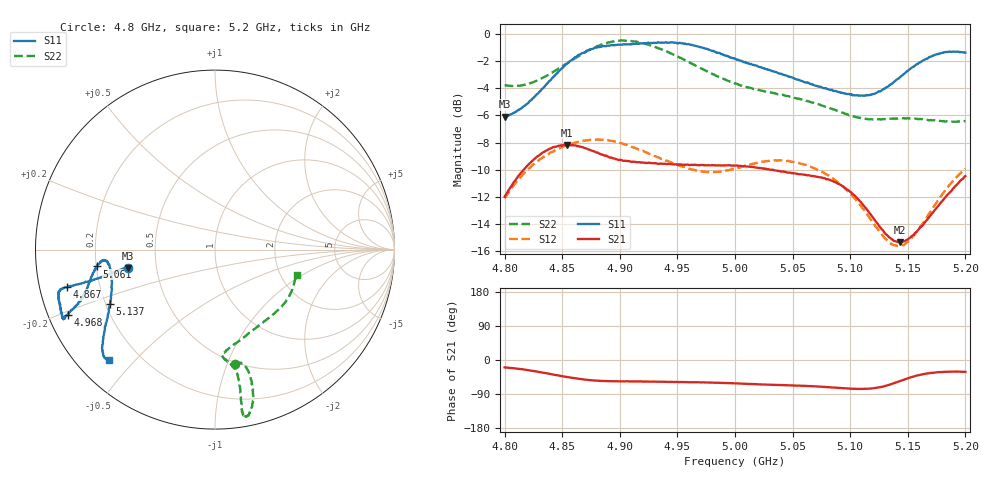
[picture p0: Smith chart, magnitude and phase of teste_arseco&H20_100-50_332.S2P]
! Network Analyzer HP8722D
! Hewlett-Packard
! Data name: Linha & Wilkinson
! Saver's name: Rodrigo Anjos
! Comments: Teste da utilização de aquisição
! continua pelo VNA HP8722D
! Time and date: 6/5/2025 15:20
!  Frequency  S11  S21  S12  S22
# HZ  S  MA R 50
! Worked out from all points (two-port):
!   401 points, 4.8 GHz to 5.2 GHz, reference 50 ohm
!   highest |S21| = -8.16 dB at 4.854 GHz (marker M1); lowest = -15.3 dB at 5.143 GHz (marker M2)
!   |S21| within 3 dB of the highest: 4.806 GHz to 5.093 GHz (286.6 MHz wide, 5.79 % of centre); 5.191716 GHz to end of sweep
!   lowest |S11| = -6.1 dB at 4.8 GHz (marker M3), VSWR 2.97, Z = 17 - j4.61 ohm
!   |S11| at or under -10 dB: nowhere
!   |S22| runs from -6.5 to -0.5 dB; largest |S21 - S12| = 0.62
!   S11 on the Smith chart (normalised r, x): 4.8 GHz: 0.34, -0.09; 4.867 GHz: 0.08, -0.12; 4.968 GHz: 0.06, -0.21; 5.061 GHz: 0.20, -0.07; 5.137 GHz: 0.22, -0.23; 5.2 GHz: 0.09, -0.43
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4.8e9  0.4966 -168.1  0.2515 -19.6  0.2484 -140.8  0.6481 -80.3
4.826e9  0.5871 -167.2  0.3468 -29.6  0.3334 -144.5  0.6677 -75.6
4.854e9  0.7764 -165.8  0.3906 -44.9  0.3888 -149.8  0.7785 -74.6
4.867e9  0.8489 -165.8  0.3834 -50.8  0.4037 -151.9  0.8441 -75.3
4.88e9  0.8901 -165.4  0.3663 -54.5  0.4083 -154.0  0.9003 -76.7
4.9e9  0.912 -162.8  0.3439 -56.3  0.3968 -156.5  0.9436 -79.1
4.915e9  0.9208 -159.2  0.3373 -56.7  0.3781 -157.2  0.9355 -80.3
4.934e9  0.93 -156.3  0.3326 -57.4  0.3509 -155.6  0.8837 -80.4
4.968e9  0.8975 -156.2  0.3288 -59.0  0.3136 -147.5  0.7552 -79.6
5e9  0.8111 -159.0  0.3277 -61.8  0.3199 -137.1  0.6568 -81.2
5.037e9  0.7193 -165.8  0.3132 -65.9  0.3419 -134.4  0.5996 -85.8
5.061e9  0.6634 -171.9  0.3032 -68.2  0.3298 -136.2  0.5706 -84.0
5.067e9  0.6522 -173.0  0.3001 -69.1  0.3229 -136.7  0.5595 -82.6
5.083e9  0.6209 -174.4  0.2892 -72.3  0.2974 -138.1  0.532 -76.7
5.103e9  0.5954 -171.6  0.2557 -76.0  0.2504 -138.7  0.4967 -65.2
5.117e9  0.5955 -165.0  0.2184 -75.5  0.2096 -135.0  0.4848 -55.2
5.134e9  0.6467 -154.2  0.1782 -65.4  0.1708 -120.7  0.4872 -43.3
5.137e9  0.6593 -152.5  0.1745 -62.3  0.1678 -116.9  0.4881 -41.5
5.143e9  0.6914 -149.2  0.1713 -55.9  0.1656 -109.0  0.4883 -38.0
5.154e9  0.7543 -144.4  0.1809 -44.6  0.1791 -95.1  0.4883 -32.4
5.173e9  0.8362 -138.9  0.2237 -33.2  0.2331 -80.7  0.4811 -24.3
5.2e9  0.8532 -133.6  0.2998 -31.3  0.319 -76.8  0.4776 -17.5
